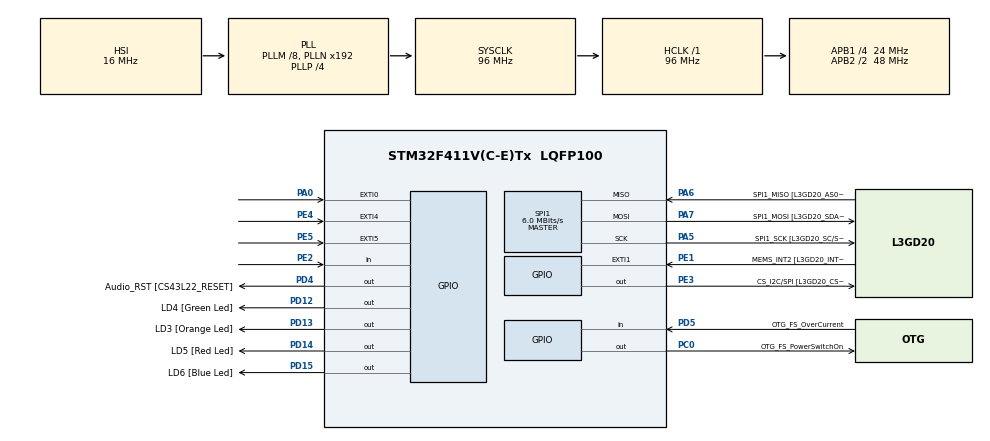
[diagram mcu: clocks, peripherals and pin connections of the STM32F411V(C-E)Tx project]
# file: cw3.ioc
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Mcu.Family=STM32F4
Mcu.Name=STM32F411V(C-E)Tx
Mcu.Package=LQFP100
NVIC.PriorityGroup=NVIC_PRIORITYGROUP_0
PA0-WKUP.GPIO_ModeDefaultEXTI=GPIO_MODE_EVT_RISING
PA0-WKUP.Signal=GPXTI0
PA10.GPIO_Label=OTG_FS_ID
PA10.Signal=USB_OTG_FS_ID
PA11.GPIO_Label=OTG_FS_DM
PA11.Signal=USB_OTG_FS_DM
PA12.GPIO_Label=OTG_FS_DP
PA12.Signal=USB_OTG_FS_DP
PA13.GPIO_Label=SWDIO
PA13.Signal=SYS_JTMS-SWDIO
PA14.GPIO_Label=SWCLK
PA14.Signal=SYS_JTCK-SWCLK
PA4.GPIO_Label=I2S3_WS [CS43L22_LRCK]
PA4.GPIO_Mode=GPIO_MODE_AF_PP
PA4.GPIO_PuPd=GPIO_NOPULL
PA4.GPIO_Speed=GPIO_SPEED_FREQ_LOW
PA4.Signal=I2S3_WS
PA5.GPIO_Label=SPI1_SCK [L3GD20_SC/SPC]
PA5.Mode=Full_Duplex_Master
PA5.Signal=SPI1_SCK
PA6.GPIO_Label=SPI1_MISO [L3GD20_AS0/SDO]
PA6.Mode=Full_Duplex_Master
PA6.Signal=SPI1_MISO
PA7.GPIO_Label=SPI1_MOSI [L3GD20_SDA/SDI/SDO]
PA7.Mode=Full_Duplex_Master
PA7.Signal=SPI1_MOSI
PA9.GPIO_Label=VBUS_FS
PA9.Signal=USB_OTG_FS_VBUS
PB10.GPIO_Label=CLK_IN [MP45DT02_CLK]
PB10.Signal=I2S2_CK
PB12.Signal=I2S2_WS
PB3.GPIO_Label=SWO
PB3.Signal=SYS_JTDO-SWO
PB6.GPIO_Label=Audio_SCL [CS43L22_SCL]
PB6.GPIO_Mode=GPIO_MODE_AF_OD
PB6.GPIO_PuPd=GPIO_NOPULL
PB6.GPIO_Speed=GPIO_SPEED_FREQ_LOW
PB6.Signal=I2C1_SCL
PB9.GPIO_Label=Audio_SDA [CS43L22_SDA]
PB9.GPIO_Mode=GPIO_MODE_AF_OD
PB9.GPIO_PuPd=GPIO_NOPULL
PB9.GPIO_Speed=GPIO_SPEED_FREQ_LOW
PB9.Signal=I2C1_SDA
PC0.GPIO_Label=OTG_FS_PowerSwitchOn
PC0.PinState=GPIO_PIN_SET
PC0.Signal=GPIO_Output
PC10.GPIO_Label=I2S3_SCK [CS43L22_SCLK]
PC10.GPIO_Mode=GPIO_MODE_AF_PP
PC10.GPIO_PuPd=GPIO_NOPULL
PC10.GPIO_Speed=GPIO_SPEED_FREQ_LOW
PC10.Signal=I2S3_CK
PC12.GPIO_Label=I2S3_SD [CS43L22_SDIN]
PC12.GPIO_Mode=GPIO_MODE_AF_PP
PC12.GPIO_PuPd=GPIO_NOPULL
PC12.GPIO_Speed=GPIO_SPEED_FREQ_LOW
PC12.Signal=I2S3_SD
PC14-OSC32_IN.GPIO_Label=PC14-OSC32_IN
PC14-OSC32_IN.Signal=RCC_OSC32_IN
PC15-OSC32_OUT.GPIO_Label=PC15-OSC32_OUT
PC15-OSC32_OUT.Signal=RCC_OSC32_OUT
PC3.GPIO_Label=PDM_OUT [MP45DT02_DOUT]
PC3.Signal=I2S2_SD
PC7.GPIO_Label=I2S3_MCK [CS43L22_MCLK]
PC7.GPIO_Mode=GPIO_MODE_AF_PP
PC7.GPIO_PuPd=GPIO_NOPULL
PC7.GPIO_Speed=GPIO_SPEED_FREQ_LOW
PC7.Signal=I2S3_MCK
PD12.GPIO_Label=LD4 [Green Led]
PD12.GPIO_PuPd=GPIO_NOPULL
PD12.GPIO_Speed=GPIO_SPEED_FREQ_LOW
PD12.Signal=GPIO_Output
PD13.GPIO_Label=LD3 [Orange Led]
PD13.GPIO_PuPd=GPIO_NOPULL
PD13.GPIO_Speed=GPIO_SPEED_FREQ_LOW
PD13.Signal=GPIO_Output
PD14.GPIO_Label=LD5 [Red Led]
PD14.GPIO_PuPd=GPIO_NOPULL
PD14.GPIO_Speed=GPIO_SPEED_FREQ_LOW
PD14.Signal=GPIO_Output
PD15.GPIO_Label=LD6 [Blue Led]
PD15.GPIO_PuPd=GPIO_NOPULL
PD15.GPIO_Speed=GPIO_SPEED_FREQ_LOW
PD15.Signal=GPIO_Output
PD4.GPIO_Label=Audio_RST [CS43L22_RESET]
PD4.Signal=GPIO_Output
PD5.GPIO_Label=OTG_FS_OverCurrent
PD5.Signal=GPIO_Input
PE1.GPIO_Label=MEMS_INT2 [L3GD20_INT2]
PE1.GPIO_ModeDefaultEXTI=GPIO_MODE_EVT_RISING
PE1.Signal=GPXTI1
PE2.Signal=GPIO_Input
PE3.GPIO_Label=CS_I2C/SPI [L3GD20_CS_I2C/SPI]
PE3.Signal=GPIO_Output
PE4.GPIO_ModeDefaultEXTI=GPIO_MODE_EVT_RISING
PE4.Signal=GPXTI4
PE5.GPIO_ModeDefaultEXTI=GPIO_MODE_EVT_RISING
PE5.Signal=GPXTI5
PH0\ -\ OSC_IN.GPIO_Label=PH0-OSC_IN
PH0\ -\ OSC_IN.Signal=RCC_OSC_IN
PH1\ -\ OSC_OUT.GPIO_Label=PH1-OSC_OUT
PH1\ -\ OSC_OUT.Signal=RCC_OSC_OUT
ProjectManager.HeapSize=0x200
ProjectManager.StackSize=0x400
ProjectManager.TargetToolchain=STM32CubeIDE
RCC.48MHZClocksFreq_Value=48000000
RCC.AHBFreq_Value=96000000
RCC.APB1CLKDivider=RCC_HCLK_DIV4
RCC.APB1Freq_Value=24000000
RCC.APB1TimFreq_Value=48000000
RCC.APB2CLKDivider=RCC_HCLK_DIV2
RCC.APB2Freq_Value=48000000
RCC.APB2TimFreq_Value=96000000
RCC.CortexFreq_Value=96000000
RCC.HCLKFreq_Value=96000000
RCC.HSE_VALUE=8000000
RCC.HSI_VALUE=16000000
RCC.LSE_VALUE=32768
RCC.PLLI2SM=5
RCC.PLLI2SN=200
RCC.PLLM=8
RCC.PLLP=RCC_PLLP_DIV4
RCC.PLLQ=8
RCC.SYSCLKFreq_VALUE=96000000
RCC.SYSCLKSource=RCC_SYSCLKSOURCE_PLLCLK
RCC.VCOOutputFreq_Value=384000000
SPI1.BaudRatePrescaler=SPI_BAUDRATEPRESCALER_8
SPI1.CalculateBaudRate=6.0 MBits/s
SPI1.Direction=SPI_DIRECTION_2LINES
SPI1.Mode=SPI_MODE_MASTER
SPI1.VirtualType=VM_MASTER
board=STM32F411E-DISCO

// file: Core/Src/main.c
/* USER CODE BEGIN Header */
/**
  ******************************************************************************
  * @file           : main.c
  * @brief          : Main program body
  ******************************************************************************
  * @attention
  *
  * Copyright (c) 2024 STMicroelectronics.
  * All rights reserved.
  *
  * This software is licensed under terms that can be found in the LICENSE file
  * in the root directory of this software component.
  * If no LICENSE file comes with this software, it is provided AS-IS.
  *
  ******************************************************************************
  */
/* USER CODE END Header */
#include "main.h"

/* USER CODE BEGIN Includes */
#include <stdio.h>
#include <math.h>
/* USER CODE END Includes */

SPI_HandleTypeDef hspi1;

void SystemClock_Config(void);
static void MX_GPIO_Init(void);
static void MX_SPI1_Init(void);

int main(void)
{

  /* USER CODE BEGIN 1 */
	initialise_monitor_handles();
	printf("Hello World!\n");

  /* USER CODE END 1 */

  /* MCU Configuration--------------------------------------------------------*/

  /* Reset of all peripherals, Initializes the Flash interface and the Systick. */
  HAL_Init();

  /* Configure the system clock */
  SystemClock_Config();

  /* Initialize all configured peripherals */
  MX_GPIO_Init();
  MX_SPI1_Init();
  /* USER CODE BEGIN 2 */

  uint8_t spi_receive_buf[6];
   uint8_t spi_transmit_buf[6];

   uint8_t WHO_AM_I_reg = 0x0F;
   WHO_AM_I_reg = 0b00001111;

   uint8_t READ = 0x01 << 7;
   uint8_t WRITE = 0x00 << 7;

   spi_transmit_buf[0] = WHO_AM_I_reg | READ;

 	HAL_GPIO_WritePin(GPIOE, GPIO_PIN_3, 0);
 	HAL_SPI_Transmit(&hspi1, spi_transmit_buf, 1, 50);
 	HAL_SPI_Receive(&hspi1, spi_receive_buf, 1, 50);
 	HAL_GPIO_WritePin(GPIOE, GPIO_PIN_3, 1);

 	printf("Expected 0x%02X , receiver: 0x%02X\n", 0b11010011, spi_receive_buf[0]);

 	//Odczyt rejestru przed zapisem
 	uint8_t CTRL_REG1_reg = 0x20;

 	spi_transmit_buf[0] = CTRL_REG1_reg | READ;

 	HAL_GPIO_WritePin(GPIOE, GPIO_PIN_3, 0);
 	HAL_SPI_Transmit(&hspi1, spi_transmit_buf, 1, 50);
 	HAL_SPI_Receive(&hspi1, spi_receive_buf, 1, 50);
 	HAL_GPIO_WritePin(GPIOE, GPIO_PIN_3, 1);

 	printf("CTRL_REG1 przed zapisem: 0x%02X\n", spi_receive_buf[0]);

 	//Zapis do rejestru

 	enum CTRL_REG1_BITS {XEN, YEN, ZEN, PD, BWO, BW1, DR0, DR1};
 	//spi_transmit_buf[0] = CTRL_REG1_reg | WRITE;
 	spi_transmit_buf[0] = CTRL_REG1_reg;
 	spi_transmit_buf[1] = 0 <<XEN|0 << YEN|0 << ZEN|1 << PD|0 << BWO|0 << BW1|0 << DR0|0 << DR1;

 	HAL_GPIO_WritePin(GPIOE, GPIO_PIN_3, 0);
 	HAL_SPI_Transmit(&hspi1, spi_transmit_buf, 2, 50);
 	HAL_GPIO_WritePin(GPIOE, GPIO_PIN_3, 1);

 	//Odczyt do rejestru po zapisie

 	spi_transmit_buf[0] = CTRL_REG1_reg | READ;

 	HAL_GPIO_WritePin(GPIOE, GPIO_PIN_3, 0);
 	HAL_SPI_Transmit(&hspi1, spi_transmit_buf, 1, 50);
 	//
 	HAL_Delay(100);
 	HAL_SPI_Receive(&hspi1, spi_receive_buf, 1, 50);
 	HAL_GPIO_WritePin(GPIOE, GPIO_PIN_3, 1);

 	printf("CTRL_REG1 po zapisie: 0x%02X\n", spi_receive_buf[0]);

 	uint8_t OUT_TEMP= 0x26;

 	uint8_t AUTO_INCREMENT_ADDR = 0x01 << 6;

 	//spi_transmit_buf[0] = OUT_TEMP| READ |AUTO_INCREMENT_ADDR;
 	spi_transmit_buf[0] = OUT_TEMP| READ;
 	int16_t temp;

 	//float wspolczynnik_fizyczny = 245.0;

  /* USER CODE END 2 */

  /* Infinite loop */
  /* USER CODE BEGIN WHILE */
  while (1)
  {
		HAL_GPIO_WritePin(GPIOE, GPIO_PIN_3, 0);
		HAL_SPI_Transmit(&hspi1, spi_transmit_buf, 1, 50);
		HAL_SPI_Receive(&hspi1, spi_receive_buf, 6, 50);
		HAL_GPIO_WritePin(GPIOE, GPIO_PIN_3, 1);
		//tempf = spi_receive_buf[0] | spi_receive_buf[1] << 8;
		temp = spi_receive_buf[0];
		//printf("x: %5d, y: %5d, z: %5d\n", x, y, z);
		printf("temp: %d\n", temp);
		HAL_Delay(100);
    /* USER CODE END WHILE */

  }
}

void SystemClock_Config(void)
{
  RCC_OscInitTypeDef RCC_OscInitStruct = {0};
  RCC_ClkInitTypeDef RCC_ClkInitStruct = {0};

  /** Configure the main internal regulator output voltage
  */
  __HAL_RCC_PWR_CLK_ENABLE();
  __HAL_PWR_VOLTAGESCALING_CONFIG(PWR_REGULATOR_VOLTAGE_SCALE1);

  /** Initializes the RCC Oscillators according to the specified parameters
  * in the RCC_OscInitTypeDef structure.
  */
  RCC_OscInitStruct.OscillatorType = RCC_OSCILLATORTYPE_HSI;
  RCC_OscInitStruct.HSIState = RCC_HSI_ON;
  RCC_OscInitStruct.HSICalibrationValue = RCC_HSICALIBRATION_DEFAULT;
  RCC_OscInitStruct.PLL.PLLState = RCC_PLL_ON;
  RCC_OscInitStruct.PLL.PLLSource = RCC_PLLSOURCE_HSI;
  RCC_OscInitStruct.PLL.PLLM = 8;
  RCC_OscInitStruct.PLL.PLLN = 192;
  RCC_OscInitStruct.PLL.PLLP = RCC_PLLP_DIV4;
  RCC_OscInitStruct.PLL.PLLQ = 8;
  if (HAL_RCC_OscConfig(&RCC_OscInitStruct) != HAL_OK)
  {
    Error_Handler();
  }

  /** Initializes the CPU, AHB and APB buses clocks
  */
  RCC_ClkInitStruct.ClockType = RCC_CLOCKTYPE_HCLK|RCC_CLOCKTYPE_SYSCLK
                              |RCC_CLOCKTYPE_PCLK1|RCC_CLOCKTYPE_PCLK2;
  RCC_ClkInitStruct.SYSCLKSource = RCC_SYSCLKSOURCE_PLLCLK;
  RCC_ClkInitStruct.AHBCLKDivider = RCC_SYSCLK_DIV1;
  RCC_ClkInitStruct.APB1CLKDivider = RCC_HCLK_DIV4;
  RCC_ClkInitStruct.APB2CLKDivider = RCC_HCLK_DIV2;

  if (HAL_RCC_ClockConfig(&RCC_ClkInitStruct, FLASH_LATENCY_3) != HAL_OK)
  {
    Error_Handler();
  }
}

static void MX_SPI1_Init(void)
{

  /* SPI1 parameter configuration*/
  hspi1.Instance = SPI1;
  hspi1.Init.Mode = SPI_MODE_MASTER;
  hspi1.Init.Direction = SPI_DIRECTION_2LINES;
  hspi1.Init.DataSize = SPI_DATASIZE_8BIT;
  hspi1.Init.CLKPolarity = SPI_POLARITY_LOW;
  hspi1.Init.CLKPhase = SPI_PHASE_1EDGE;
  hspi1.Init.NSS = SPI_NSS_SOFT;
  hspi1.Init.BaudRatePrescaler = SPI_BAUDRATEPRESCALER_8;
  hspi1.Init.FirstBit = SPI_FIRSTBIT_MSB;
  hspi1.Init.TIMode = SPI_TIMODE_DISABLE;
  hspi1.Init.CRCCalculation = SPI_CRCCALCULATION_DISABLE;
  hspi1.Init.CRCPolynomial = 10;
  if (HAL_SPI_Init(&hspi1) != HAL_OK)
  {
    Error_Handler();
  }

}

static void MX_GPIO_Init(void)
{
  GPIO_InitTypeDef GPIO_InitStruct = {0};

  /* GPIO Ports Clock Enable */
  __HAL_RCC_GPIOE_CLK_ENABLE();
  __HAL_RCC_GPIOC_CLK_ENABLE();
  __HAL_RCC_GPIOH_CLK_ENABLE();
  __HAL_RCC_GPIOA_CLK_ENABLE();
  __HAL_RCC_GPIOB_CLK_ENABLE();
  __HAL_RCC_GPIOD_CLK_ENABLE();

  /*Configure GPIO pin Output Level */
  HAL_GPIO_WritePin(CS_I2C_SPI_GPIO_Port, CS_I2C_SPI_Pin, GPIO_PIN_RESET);

  /*Configure GPIO pin Output Level */
  HAL_GPIO_WritePin(OTG_FS_PowerSwitchOn_GPIO_Port, OTG_FS_PowerSwitchOn_Pin, GPIO_PIN_SET);

  /*Configure GPIO pin Output Level */
  HAL_GPIO_WritePin(GPIOD, LD4_Pin|LD3_Pin|LD5_Pin|LD6_Pin
                          |Audio_RST_Pin, GPIO_PIN_RESET);

  /*Configure GPIO pin : PE2 */
  GPIO_InitStruct.Pin = GPIO_PIN_2;
  GPIO_InitStruct.Mode = GPIO_MODE_INPUT;
  GPIO_InitStruct.Pull = GPIO_NOPULL;
  HAL_GPIO_Init(GPIOE, &GPIO_InitStruct);

  /*Configure GPIO pin : CS_I2C_SPI_Pin */
  GPIO_InitStruct.Pin = CS_I2C_SPI_Pin;
  GPIO_InitStruct.Mode = GPIO_MODE_OUTPUT_PP;
  GPIO_InitStruct.Pull = GPIO_NOPULL;
  GPIO_InitStruct.Speed = GPIO_SPEED_FREQ_LOW;
  HAL_GPIO_Init(CS_I2C_SPI_GPIO_Port, &GPIO_InitStruct);

  /*Configure GPIO pins : PE4 PE5 MEMS_INT2_Pin */
  GPIO_InitStruct.Pin = GPIO_PIN_4|GPIO_PIN_5|MEMS_INT2_Pin;
  GPIO_InitStruct.Mode = GPIO_MODE_EVT_RISING;
  GPIO_InitStruct.Pull = GPIO_NOPULL;
  HAL_GPIO_Init(GPIOE, &GPIO_InitStruct);

  /*Configure GPIO pin : OTG_FS_PowerSwitchOn_Pin */
  GPIO_InitStruct.Pin = OTG_FS_PowerSwitchOn_Pin;
  GPIO_InitStruct.Mode = GPIO_MODE_OUTPUT_PP;
  GPIO_InitStruct.Pull = GPIO_NOPULL;
  GPIO_InitStruct.Speed = GPIO_SPEED_FREQ_LOW;
  HAL_GPIO_Init(OTG_FS_PowerSwitchOn_GPIO_Port, &GPIO_InitStruct);

  /*Configure GPIO pin : PDM_OUT_Pin */
  GPIO_InitStruct.Pin = PDM_OUT_Pin;
  GPIO_InitStruct.Mode = GPIO_MODE_AF_PP;
  GPIO_InitStruct.Pull = GPIO_NOPULL;
  GPIO_InitStruct.Speed = GPIO_SPEED_FREQ_LOW;
  GPIO_InitStruct.Alternate = GPIO_AF5_SPI2;
  HAL_GPIO_Init(PDM_OUT_GPIO_Port, &GPIO_InitStruct);

  /*Configure GPIO pin : PA0 */
  GPIO_InitStruct.Pin = GPIO_PIN_0;
  GPIO_InitStruct.Mode = GPIO_MODE_EVT_RISING;
  GPIO_InitStruct.Pull = GPIO_NOPULL;
  HAL_GPIO_Init(GPIOA, &GPIO_InitStruct);

  /*Configure GPIO pin : I2S3_WS_Pin */
  GPIO_InitStruct.Pin = I2S3_WS_Pin;
  GPIO_InitStruct.Mode = GPIO_MODE_AF_PP;
  GPIO_InitStruct.Pull = GPIO_NOPULL;
  GPIO_InitStruct.Speed = GPIO_SPEED_FREQ_LOW;
  GPIO_InitStruct.Alternate = GPIO_AF6_SPI3;
  HAL_GPIO_Init(I2S3_WS_GPIO_Port, &GPIO_InitStruct);

  /*Configure GPIO pins : CLK_IN_Pin PB12 */
  GPIO_InitStruct.Pin = CLK_IN_Pin|GPIO_PIN_12;
  GPIO_InitStruct.Mode = GPIO_MODE_AF_PP;
  GPIO_InitStruct.Pull = GPIO_NOPULL;
  GPIO_InitStruct.Speed = GPIO_SPEED_FREQ_LOW;
  GPIO_InitStruct.Alternate = GPIO_AF5_SPI2;
  HAL_GPIO_Init(GPIOB, &GPIO_InitStruct);

  /*Configure GPIO pins : LD4_Pin LD3_Pin LD5_Pin LD6_Pin
                           Audio_RST_Pin */
  GPIO_InitStruct.Pin = LD4_Pin|LD3_Pin|LD5_Pin|LD6_Pin
                          |Audio_RST_Pin;
  GPIO_InitStruct.Mode = GPIO_MODE_OUTPUT_PP;
  GPIO_InitStruct.Pull = GPIO_NOPULL;
  GPIO_InitStruct.Speed = GPIO_SPEED_FREQ_LOW;
  HAL_GPIO_Init(GPIOD, &GPIO_InitStruct);

  /*Configure GPIO pins : I2S3_MCK_Pin I2S3_SCK_Pin I2S3_SD_Pin */
  GPIO_InitStruct.Pin = I2S3_MCK_Pin|I2S3_SCK_Pin|I2S3_SD_Pin;
  GPIO_InitStruct.Mode = GPIO_MODE_AF_PP;
  GPIO_InitStruct.Pull = GPIO_NOPULL;
  GPIO_InitStruct.Speed = GPIO_SPEED_FREQ_LOW;
  GPIO_InitStruct.Alternate = GPIO_AF6_SPI3;
  HAL_GPIO_Init(GPIOC, &GPIO_InitStruct);

  /*Configure GPIO pin : VBUS_FS_Pin */
  GPIO_InitStruct.Pin = VBUS_FS_Pin;
  GPIO_InitStruct.Mode = GPIO_MODE_INPUT;
  GPIO_InitStruct.Pull = GPIO_NOPULL;
  HAL_GPIO_Init(VBUS_FS_GPIO_Port, &GPIO_InitStruct);

  /*Configure GPIO pins : OTG_FS_ID_Pin OTG_FS_DM_Pin OTG_FS_DP_Pin */
  GPIO_InitStruct.Pin = OTG_FS_ID_Pin|OTG_FS_DM_Pin|OTG_FS_DP_Pin;
  GPIO_InitStruct.Mode = GPIO_MODE_AF_PP;
  GPIO_InitStruct.Pull = GPIO_NOPULL;
  GPIO_InitStruct.Speed = GPIO_SPEED_FREQ_VERY_HIGH;
  GPIO_InitStruct.Alternate = GPIO_AF10_OTG_FS;
  HAL_GPIO_Init(GPIOA, &GPIO_InitStruct);

  /*Configure GPIO pin : OTG_FS_OverCurrent_Pin */
  GPIO_InitStruct.Pin = OTG_FS_OverCurrent_Pin;
  GPIO_InitStruct.Mode = GPIO_MODE_INPUT;
  GPIO_InitStruct.Pull = GPIO_NOPULL;
  HAL_GPIO_Init(OTG_FS_OverCurrent_GPIO_Port, &GPIO_InitStruct);

  /*Configure GPIO pins : Audio_SCL_Pin Audio_SDA_Pin */
  GPIO_InitStruct.Pin = Audio_SCL_Pin|Audio_SDA_Pin;
  GPIO_InitStruct.Mode = GPIO_MODE_AF_OD;
  GPIO_InitStruct.Pull = GPIO_NOPULL;
  GPIO_InitStruct.Speed = GPIO_SPEED_FREQ_LOW;
  GPIO_InitStruct.Alternate = GPIO_AF4_I2C1;
  HAL_GPIO_Init(GPIOB, &GPIO_InitStruct);

}

void Error_Handler(void)
{
  __disable_irq();
  while (1)
  {
  }
}
